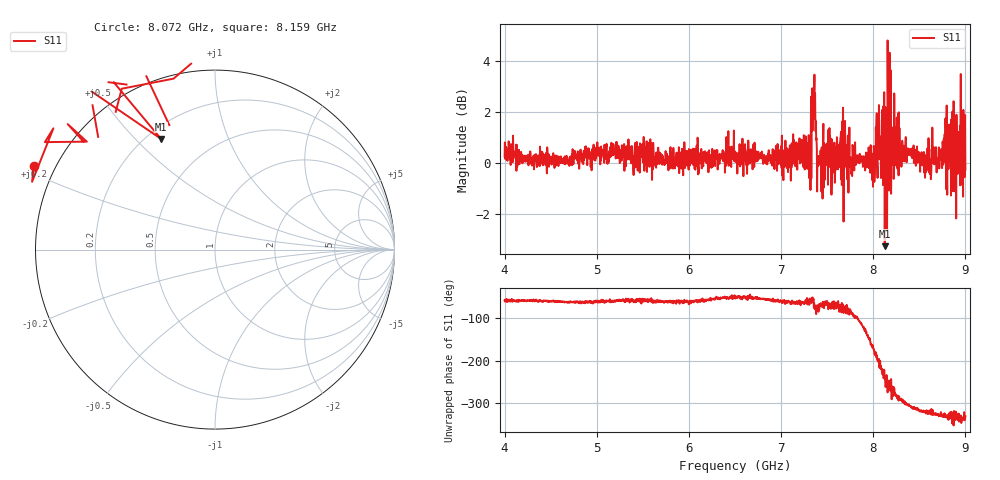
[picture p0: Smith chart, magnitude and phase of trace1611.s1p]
! Created with skrf 1.8.0 (http://scikit-rf.org).
# Hz S RI R 50.0
!freq ReS11 ImS11
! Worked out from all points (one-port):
!   1601 points, 4 GHz to 9 GHz, reference 50 ohm
!   lowest |S11| = -3.3 dB at 8.125 GHz (marker M1), VSWR 5.38, Z = 12.8 + j29.8 ohm
!   |S11| at or under -10 dB: nowhere
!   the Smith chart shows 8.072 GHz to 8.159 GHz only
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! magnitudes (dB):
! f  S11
! 4 GHz  0.2
! 4.625 GHz  0.0
! 5.25 GHz  0.0
! 5.875 GHz  0.0
! 6.5 GHz  0.3
! 7.125 GHz  0.4
! 7.294 GHz  -0.2
! 7.356 GHz  2.7
! 7.397 GHz  -0.1
! 7.428 GHz  0.5
! 7.509 GHz  -0.9
! 7.572 GHz  0.0
! 7.65 GHz  1.2
! 7.75 GHz  -0.1
! 8 GHz  -0.3
! 8.066 GHz  1.0
! 8.075 GHz  0.7
! 8.125 GHz  -3.3
! 8.181 GHz  1.0
! 8.216 GHz  1.1
! 8.253 GHz  0.8
! 8.316 GHz  0.9
! 8.375 GHz  0.6
! 8.553 GHz  0.1
! 8.834 GHz  1.3
! 8.919 GHz  -0.2
! 8.972 GHz  0.3
! 9 GHz  -0.3
